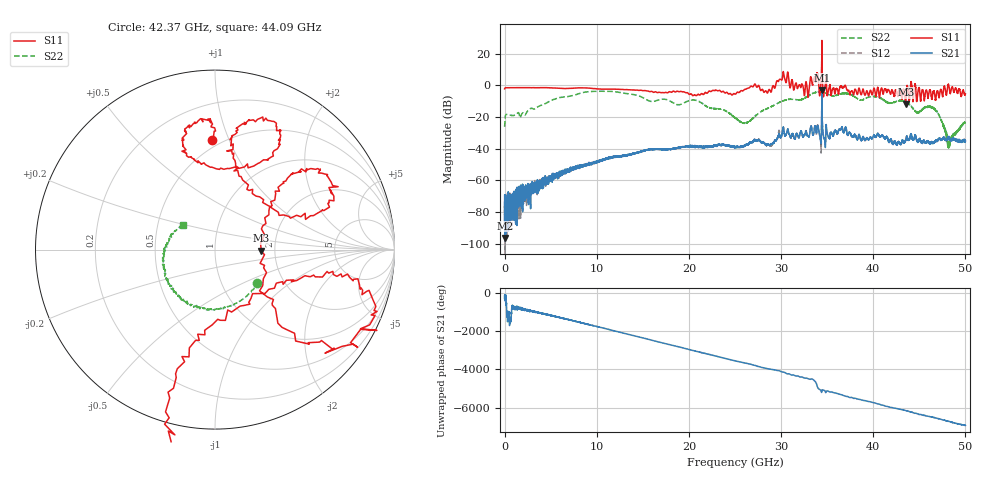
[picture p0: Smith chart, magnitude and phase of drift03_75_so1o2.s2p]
!Created with skrf (http://scikit-rf.org).
# Hz S RI R 50.0
!freq ReS11 ImS11 ReS21 ImS21 ReS12 ImS12 ReS22 ImS22
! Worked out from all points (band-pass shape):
!   10000 points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, 5.3 MHz to 50 GHz, reference 50 ohm
!   highest |S21| = -2.90 dB at 34.43 GHz (marker M1); lowest = -96.4 dB at 80.3 MHz (marker M2)
!   |S21| within 3 dB of the highest: 34.42744 GHz to 34.43435 GHz (6.909 MHz wide, 0.0201 % of centre)
!   lowest |S11| = -11.9 dB at 43.52 GHz (marker M3), VSWR 1.68, Z = 84.1 - j1.22 ohm
!   |S11| at or under -10 dB: 43.48565 GHz to 43.55052 GHz (64.87 MHz wide, 0.149 % of centre); 44.30772 GHz to 44.31307 GHz (5.352 MHz wide, 0.0121 % of centre); 44.70837 GHz to 44.71115 GHz (2.781 MHz wide, 0.00622 % of centre) (the widest 3 of 4)
!   |S22| runs from -39.8 to -3.6 dB; largest |S21 - S12| = 0.23
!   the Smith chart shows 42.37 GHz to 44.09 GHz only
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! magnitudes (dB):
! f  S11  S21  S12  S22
! 5.3 MHz  -2.1  -73.7  -76.2  -26.1
! 80.3 MHz  -1.5  -96.4  -75.7  -19.4
! 8.34 GHz  -1.5  -51.0  -51.2  -4.7
! 16.67 GHz  -4.4  -40.3  -40.3  -9.2
! 20.74 GHz  -6.3  -38.9  -38.7  -9.4
! 25.01 GHz  -5.5  -38.7  -38.7  -20.4
! 26.21 GHz  -2.2  -37.7  -37.5  -23.7
! 27.37 GHz  -1.1  -35.0  -34.8  -18.6
! 28.72 GHz  -2.5  -37.6  -37.6  -14.1
! 30.14 GHz  4.4  -29.6  -29.5  -9.9
! 32.74 GHz  2.0  -29.5  -29.2  -7.4
! 33.34 GHz  2.6  -27.4  -27.9  -5.2
! 33.82 GHz  4.0  -28.9  -29.5  -4.3
! 34.43 GHz  28.5  -2.9  -5.1  -3.9
! 36.48 GHz  -0.5  -28.0  -28.1  -5.3
! 38.87 GHz  -2.3  -32.7  -32.5  -9.0
! 41.67 GHz  -2.8  -35.4  -35.4  -10.9
! 43.52 GHz  -11.9  -34.5  -34.7  -10.4
! 44.78 GHz  -6.9  -35.2  -35.2  -17.4
! 46.68 GHz  -5.9  -35.6  -35.4  -15.0
! 48.22 GHz  -0.4  -32.8  -32.9  -36.5
! 50 GHz  -5.2  -34.9  -35.3  -23.2
